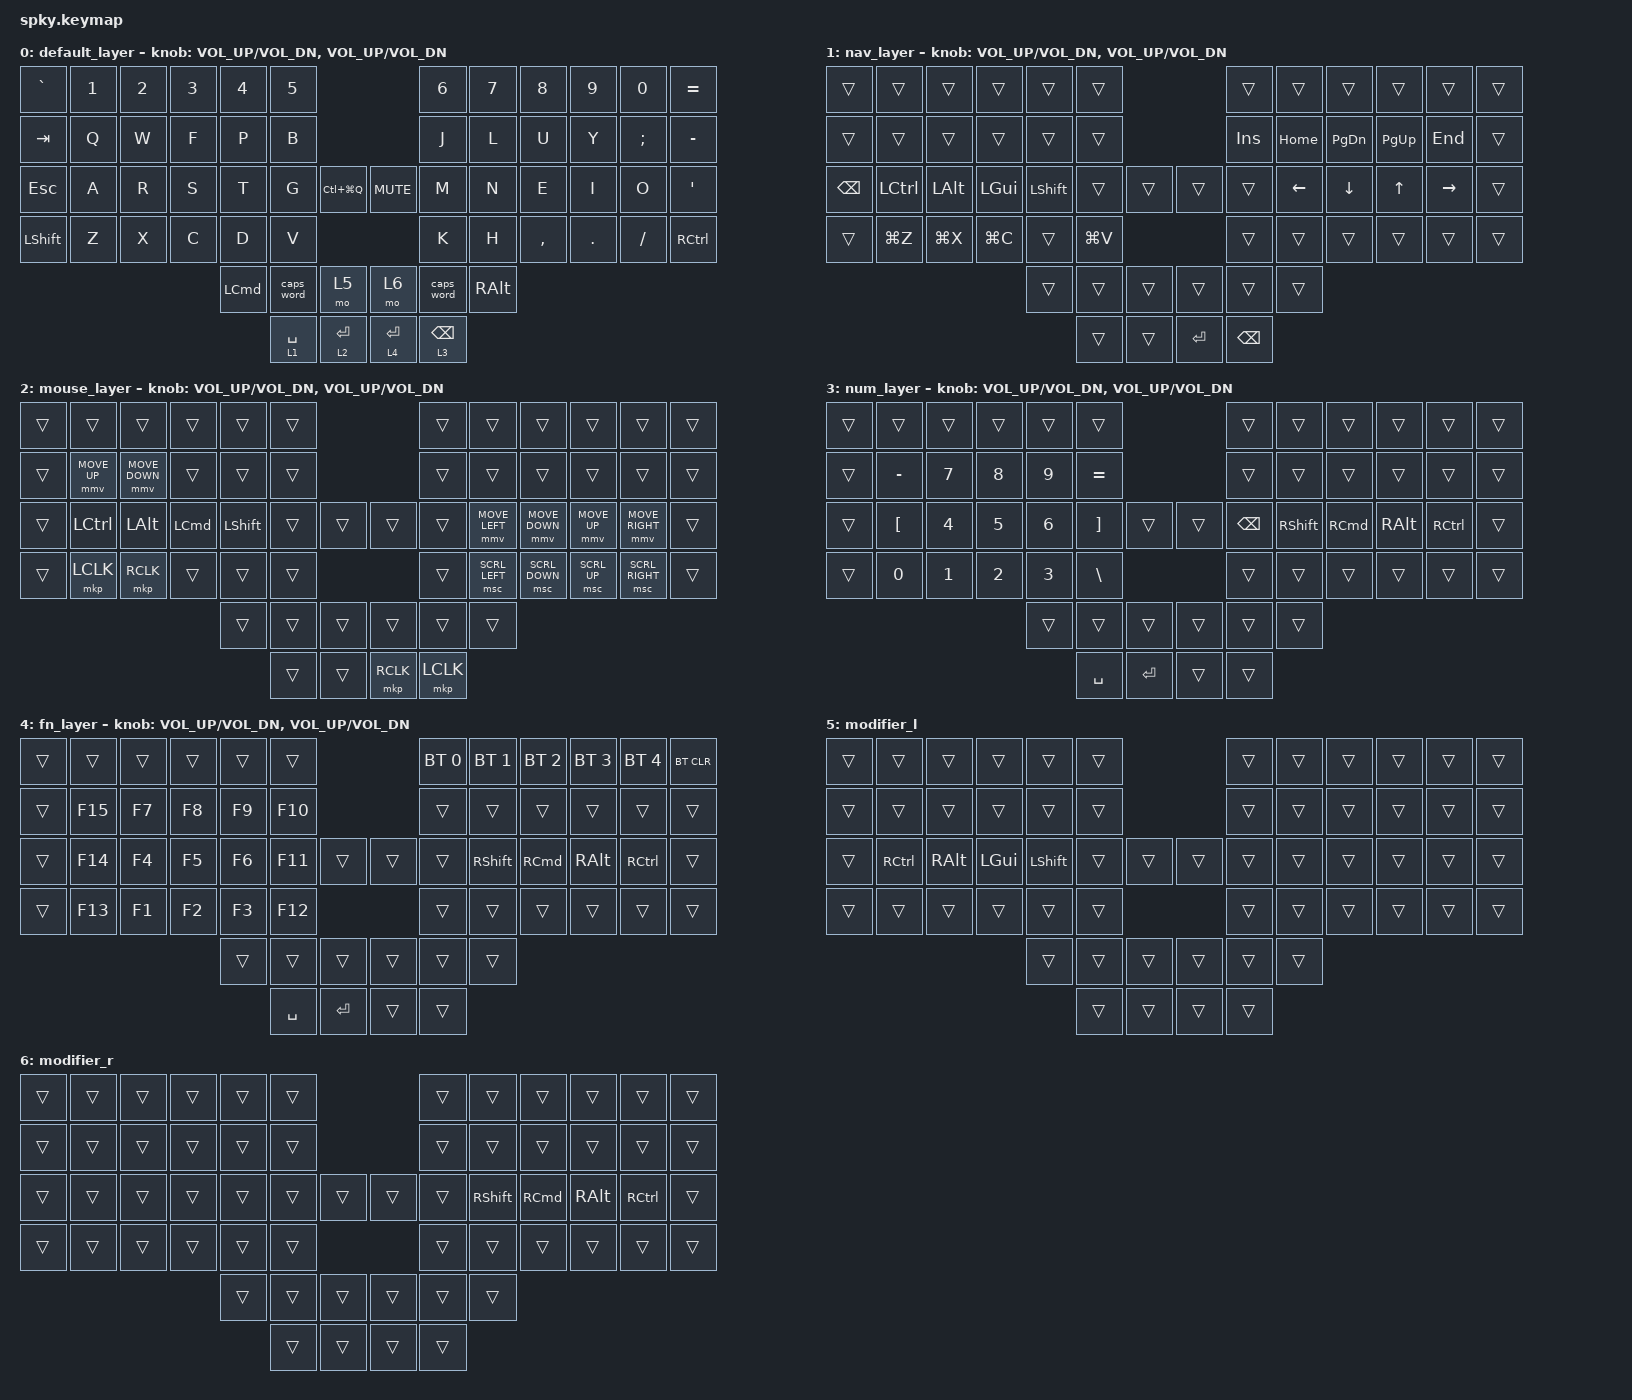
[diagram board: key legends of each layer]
#include <behaviors.dtsi>
#include <dt-bindings/zmk/bt.h>
#include <dt-bindings/zmk/keys.h>
#include <dt-bindings/zmk/pointing.h>

#define HYP LS(LC(LA(LCMD)))
#define MEH LS(LC(LALT))

#define DEFAULT  0
#define NAVL     1
#define MOUSEL   2
#define NUML     3
#define FNL      4

&caps_word { continue-list = <UNDERSCORE MINUS BSPC DEL>; };

/ {
    behaviors {
        ESC_BKSP: ESC_BKSP {
            compatible = "zmk,behavior-tap-dance";
            label = "ESC_BKSP";
            #binding-cells = <0>;
            bindings = <&kp ESCAPE>, <&kp BACKSPACE>;
        };
    };

    keymap {
        compatible = "zmk,keymap";

        default_layer {
            bindings = <
&kp GRAVE   &kp N1  &kp N2  &kp N3  &kp N4    &kp N5                                   &kp N6           &kp N7    &kp N8     &kp N9   &kp N0    &kp EQUAL
&kp TAB     &kp Q   &kp W   &kp F   &kp P     &kp B                                    &kp J            &kp L     &kp U      &kp Y    &kp SEMI  &kp MINUS
&kp ESCAPE  &kp A   &kp R   &kp S   &kp T     &kp G        &kp LC(LG(Q))  &kp K_MUTE   &kp M            &kp N     &kp E      &kp I    &kp O     &kp SQT
&kp LSHIFT  &kp Z   &kp X   &kp C   &kp D     &kp V                                    &kp K            &kp H     &kp COMMA  &kp DOT  &kp FSLH  &kp RCTRL
                                    &kp LCMD  &caps_word   &mo 5          &mo 6        &caps_word       &kp RALT
                                              &lt 1 SPACE  &lt 2 ENTER    &lt 4 ENTER  &lt 3 BACKSPACE
            >;

            sensor-bindings = <&inc_dec_kp C_VOL_UP C_VOL_DN &inc_dec_kp C_VOL_UP C_VOL_DN>;
        };

        nav_layer {
            bindings = <
&trans         &trans     &trans     &trans     &trans     &trans                        &trans         &trans    &trans         &trans       &trans     &trans
&trans         &trans     &trans     &trans     &trans     &trans                        &kp INSERT     &kp HOME  &kp PAGE_DOWN  &kp PAGE_UP  &kp END    &trans
&kp BACKSPACE  &kp LCTRL  &kp LALT   &kp LGUI   &kp LSHFT  &trans     &trans  &trans     &trans         &kp LEFT  &kp DOWN       &kp UP       &kp RIGHT  &trans
&trans         &kp LG(Z)  &kp LG(X)  &kp LG(C)  &trans     &kp LG(V)                     &trans         &trans    &trans         &trans       &trans     &trans
                                                &trans     &trans     &trans  &trans     &trans         &trans
                                                           &trans     &trans  &kp ENTER  &kp BACKSPACE
            >;

            sensor-bindings = <&inc_dec_kp C_VOL_UP C_VOL_DN &inc_dec_kp C_VOL_UP C_VOL_DN>;
        };

        mouse_layer {
            bindings = <
&trans  &trans     &trans    &trans    &trans          &trans                     &trans     &trans          &trans          &trans        &trans           &trans
&trans  &mmv MOVE_UP  &mmv MOVE_DOWN    &trans    &trans          &trans                     &trans     &trans          &trans          &trans        &trans           &trans
&trans  &kp LCTRL  &kp LALT  &kp LCMD  &kp LSHFT       &trans  &trans  &trans     &trans     &mmv MOVE_LEFT  &mmv MOVE_DOWN  &mmv MOVE_UP  &mmv MOVE_RIGHT  &trans
&trans  &mkp LCLK  &mkp RCLK    &trans    &trans          &trans                     &trans     &msc SCRL_LEFT  &msc SCRL_DOWN  &msc SCRL_UP  &msc SCRL_RIGHT  &trans
                                       &trans          &trans  &trans  &trans     &trans     &trans
                                                       &trans  &trans  &mkp RCLK  &mkp LCLK
            >;

            sensor-bindings = <&inc_dec_kp C_VOL_UP C_VOL_DN &inc_dec_kp C_VOL_UP C_VOL_DN>;
        };

        num_layer {
            bindings = <
&trans  &trans            &trans  &trans  &trans  &trans                            &trans          &trans     &trans    &trans    &trans     &trans
&trans  &kp MINUS         &kp N7  &kp N8  &kp N9  &kp EQUAL                         &trans          &trans     &trans    &trans    &trans     &trans
&trans  &kp LBKT          &kp N4  &kp N5  &kp N6  &kp RBKT       &trans     &trans  &kp BACKSPACE   &kp RSHFT  &kp RCMD  &kp RALT  &kp RCTRL  &trans
&trans  &kp N0            &kp N1  &kp N2  &kp N3  &kp BACKSLASH                     &trans          &trans     &trans    &trans    &trans     &trans
                                          &trans  &trans         &trans     &trans  &trans          &trans
                                                  &kp SPACE      &kp ENTER  &trans  &trans
            >;

            sensor-bindings = <&inc_dec_kp C_VOL_UP C_VOL_DN &inc_dec_kp C_VOL_UP C_VOL_DN>;
        };

        fn_layer {
            bindings = <
&trans  &trans   &trans  &trans  &trans  &trans                        &bt BT_SEL 0  &bt BT_SEL 1  &bt BT_SEL 2  &bt BT_SEL 3  &bt BT_SEL 4  &bt BT_CLR
&trans  &kp F15  &kp F7  &kp F8  &kp F9  &kp F10                       &trans        &trans        &trans        &trans        &trans        &trans
&trans  &kp F14  &kp F4  &kp F5  &kp F6  &kp F11    &trans     &trans  &trans        &kp RSHFT     &kp RCMD      &kp RALT      &kp RCTRL     &trans
&trans  &kp F13  &kp F1  &kp F2  &kp F3  &kp F12                       &trans        &trans        &trans        &trans        &trans        &trans
                                 &trans  &trans     &trans     &trans  &trans        &trans
                                         &kp SPACE  &kp ENTER  &trans  &trans
            >;

            sensor-bindings = <&inc_dec_kp C_VOL_UP C_VOL_DN &inc_dec_kp C_VOL_UP C_VOL_DN>;
        };

        modifier_l {
            bindings = <
&trans  &trans     &trans    &trans    &trans     &trans                  &trans  &trans  &trans  &trans  &trans  &trans
&trans  &trans     &trans    &trans    &trans     &trans                  &trans  &trans  &trans  &trans  &trans  &trans
&trans  &kp RCTRL  &kp RALT  &kp LGUI  &kp LSHFT  &trans  &trans  &trans  &trans  &trans  &trans  &trans  &trans  &trans
&trans  &trans     &trans    &trans    &trans     &trans                  &trans  &trans  &trans  &trans  &trans  &trans
                                       &trans     &trans  &trans  &trans  &trans  &trans
                                                  &trans  &trans  &trans  &trans
            >;
        };

        modifier_r {
            bindings = <
&trans  &trans  &trans  &trans  &trans  &trans                  &trans  &trans           &trans    &trans         &trans     &trans
&trans  &trans  &trans  &trans  &trans  &trans                  &trans  &trans           &trans    &trans         &trans     &trans
&trans  &trans  &trans  &trans  &trans  &trans  &trans  &trans  &trans  &kp RSHIFT       &kp RCMD  &kp RALT       &kp RCTRL  &trans
&trans  &trans  &trans  &trans  &trans  &trans                  &trans  &trans           &trans    &trans         &trans     &trans
                                &trans  &trans  &trans  &trans  &trans  &trans
                                        &trans  &trans  &trans  &trans
            >;
        };
    };
};
